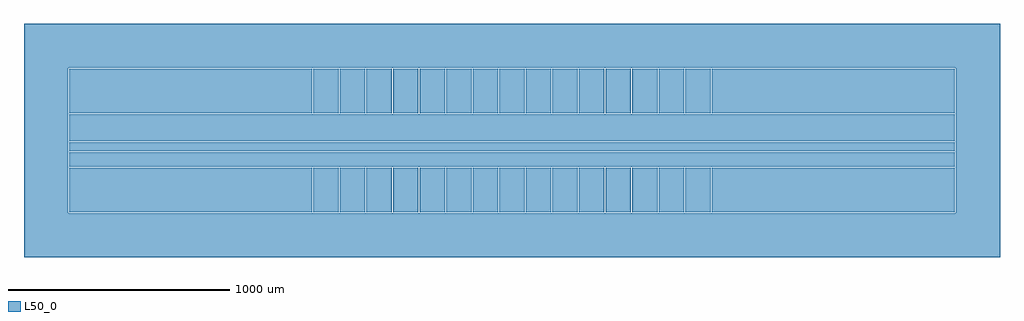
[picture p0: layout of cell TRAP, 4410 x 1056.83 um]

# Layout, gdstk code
import gdstk
lib = gdstk.Library(unit=1e-6, precision=1e-09)
def R(c, l, rs):  # rectangles x0, y0, x1, y1
    for r in rs: c.add(gdstk.rectangle(r[:2], r[2:], *l))
def A(c, l, x, y, w, h, nx, ny, dx, dy):  # array of equal rectangles
    R(c, l, [(x+i*dx, y+j*dy, x+i*dx+w, y+j*dy+h) for i in range(nx) for j in range(ny)])
def P(c, l, *ps):  # polygons
    for p in ps: c.add(gdstk.Polygon(p, *l))
L50_0 = (50, 0)

trap = lib.new_cell('TRAP')
A(trap, L50_0, -897.5, -295.39, 115, 200, 15, 2, 120, 446.83)
R(trap, L50_0, [(-2000,-295.39,-902.5,-95.39), (902.5,-295.39,2000,-95.39), (-2000,-90.39,2000,-25), (-2000,-20,2000,20), (-2000,25,2000,146.44), (-2000,151.44,-902.5,351.44), (902.5,151.44,2000,351.44)])
P(trap, L50_0, [(2205,556.44),(-2205,556.44),(-2205,-300.39),(-2005,-300.39),(-2005,356.44),(2005,356.44),(2005,-300.39),(-2005,-300.39),(-2205,-300.39),(-2205,-500.39),(2205,-500.39)])

lib.write_gds('TRAP.gds')
